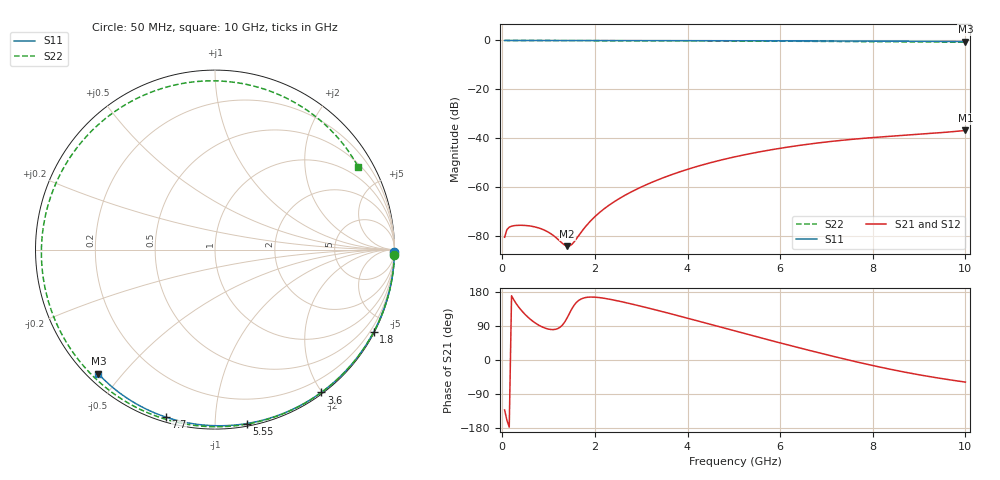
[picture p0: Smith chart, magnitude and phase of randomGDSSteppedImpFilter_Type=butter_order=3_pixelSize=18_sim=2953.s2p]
! freq	dB(S11)	phase(S11)	dB(S12)	phase(S12)
!  dB(S21)	phase(S21)	dB(S22)	phase(S22)
!S-par simulation data
#  GHz  S  DB  R 50
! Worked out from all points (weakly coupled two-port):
!   200 points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, 50 MHz to 10 GHz, reference 50 ohm
!   highest |S21| = -36.74 dB at 10 GHz (marker M1); lowest = -84.0 dB at 1.4 GHz (marker M2)
!   lowest |S11| = -0.4 dB at 10 GHz (marker M3), VSWR 38.63, Z = 1.54 - j21.6 ohm
!   |S11| at or under -10 dB: nowhere
!   |S22| runs from -0.7 to 0.0 dB; largest |S21 - S12| = 0
!   S11 on the Smith chart (normalised r, x): 50 MHz: open; 1.8 GHz: 0.04, -4.12; 3.6 GHz: 0.02, -1.99; 5.55 GHz: 0.02, -1.20; 7.7 GHz: 0.02, -0.75; 10 GHz: 0.03, -0.43
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0.05  -0.00 -0.8  -80.37 -131.9  -80.37 -131.9  -0.00 -1.7
0.1  -0.00 -1.5  -77.22 -159.2  -77.22 -159.2  -0.00 -3.3
0.15  -0.00 -2.3  -76.26 -177.1  -76.26 -177.1  -0.00 -5.0
0.4  -0.00 -6.1  -75.47 132.7  -75.47 132.7  -0.01 -13.2
0.8  -0.01 -12.2  -76.65 91.1  -76.65 91.1  -0.03 -26.4
1.15  -0.02 -17.5  -80.35 81.0  -80.35 81.0  -0.04 -37.7
1.4  -0.03 -21.3  -84.01 111.2  -84.01 111.2  -0.06 -45.7
1.65  -0.03 -25.0  -79.70 157.3  -79.70 157.3  -0.07 -53.6
1.75  -0.03 -26.5  -77.13 163.3  -77.13 163.3  -0.07 -56.7
1.8  -0.03 -27.3  -75.96 164.9  -75.96 164.9  -0.07 -58.3
2.45  -0.05 -36.9  -65.46 157.1  -65.46 157.1  -0.10 -78.3
3.4  -0.07 -50.5  -56.62 129.5  -56.62 129.5  -0.14 -106.5
3.6  -0.07 -53.3  -55.19 123.2  -55.19 123.2  -0.14 -112.3
4.3  -0.09 -63.0  -50.93 100.5  -50.93 100.5  -0.18 -132.4
5.05  -0.11 -73.1  -47.41 75.7  -47.41 75.7  -0.23 -154.1
5.55  -0.13 -79.7  -45.51 59.5  -45.51 59.5  -0.26 -168.8
6.15  -0.15 -87.3  -43.59 40.3  -43.59 40.3  -0.31 173.0
6.7  -0.18 -94.2  -42.13 23.2  -42.13 23.2  -0.36 155.5
7.7  -0.24 -106.4  -40.13 -6.4  -40.13 -6.4  -0.45 121.1
8.35  -0.29 -114.1  -39.17 -23.7  -39.17 -23.7  -0.52 96.7
9.15  -0.36 -123.4  -38.12 -42.2  -38.12 -42.2  -0.60 64.7
10  -0.45 -133.2  -36.74 -58.3  -36.74 -58.3  -0.71 29.8
